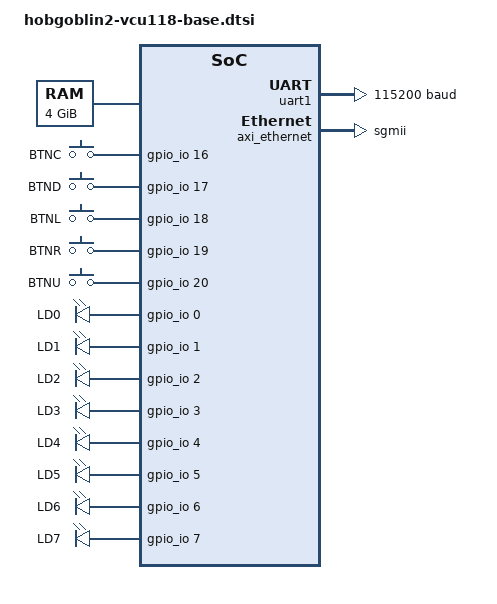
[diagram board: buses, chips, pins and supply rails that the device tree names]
// SPDX-License-Identifier: GPL-2.0
/*
 * Copyright (c) 2024 Codasip GmbH
 *
 * A730 Hobgoblin FPGA vcu118 base description. This dts includes all the
 * hardware that is dependent on the board itself. So things like DDR,
 * buttons, LEDS, etc go here. Components that are optional or configurable
 * will be described in the board dts itself.
 *
 */

/ {
	ddr: memory@80000000 {
		device_type = "memory";
		reg = <0x0 0x80000000 0x1 0x00000000>;
	};
};

&soc {
	uart1: serial@10110000 {
		compatible = "xlnx,xps-uartlite-1.00.a";
		reg = <0x10110000 0x10>;
		interrupts-extended = <&plic 2>;
		current-speed = <115200>;
		xlnx,data-bits = <8>;
		xlnx,use-parity = <0>;
	};
};

/*
 * The on board Ethernet on the VCU118 uses an SGMII interface, so it cannot
 * be changed to an Ethernet lite style of system, so it is included here in
 * the base dtsi
 */

#include "hobgoblin2-axi-emac.dtsi"

/*
 * Uses a TI dp83867 phy in SGMII mode. The RXCTRL pin is not strapped which
 * results in an invalid configuration, so we need the quirk. The AXI emac
 * only supports synchronous operation, it does not do clock recovery, so we
 * need the clock which is not on by default.
 *
 * Phy address 1 is actually the phy that does an GMII to SGMII conversion
 * inside the Ethernet block itself.
 */

&axi_ethernet {
	phy-mode = "sgmii";
};

&phy0 {
	reg = <3>;
	ti,dp83867-rxctrl-strap-quirk;
	ti,sgmii-ref-clock-output-enable;
};


/*
 * We have to have the FMC card anyway on the VCU118 to get an SD card, so we
 * may as well include the Ethernet in the base as well.
 */
#include "hobgoblin2-axi-emac-fmc.dtsi"

#include "dt-bindings/input/input.h"

/ {
	gpio-keys {
		compatible = "gpio-keys";

		key-enter {
			label = "BTNC";
			linux,code = <KEY_ENTER>;
			gpios = <&gpio_io 16 GPIO_ACTIVE_HIGH>;
		};

		key-down {
			label = "BTND";
			linux,code = <KEY_DOWN>;
			gpios = <&gpio_io 17 GPIO_ACTIVE_HIGH>;
		};

		key-left {
			label = "BTNL";
			linux,code = <KEY_LEFT>;
			gpios = <&gpio_io 18 GPIO_ACTIVE_HIGH>;
		};

		key-right {
			label = "BTNR";
			linux,code = <KEY_RIGHT>;
			gpios = <&gpio_io 19 GPIO_ACTIVE_HIGH>;
		};

		key-up {
			label = "BTNU";
			linux,code = <KEY_UP>;
			gpios = <&gpio_io 20 GPIO_ACTIVE_HIGH>;
		};
	};

	leds {
		compatible = "gpio-leds";

		led-0 {
			label = "LD0";
			gpios = <&gpio_io 0 GPIO_ACTIVE_HIGH>;
			linux,default-trigger = "heartbeat";
		};

		led-1 {
			label = "LD1";
			gpios = <&gpio_io 1 GPIO_ACTIVE_HIGH>;
			linux,default-trigger = "mmc0";
		};

		led-2 {
			label = "LD2";
			gpios = <&gpio_io 2 GPIO_ACTIVE_HIGH>;
		};

		led-3 {
			label = "LD3";
			gpios = <&gpio_io 3 GPIO_ACTIVE_HIGH>;
		};

		led-4 {
			label = "LD4";
			gpios = <&gpio_io 4 GPIO_ACTIVE_HIGH>;
		};

		led-5 {
			label = "LD5";
			gpios = <&gpio_io 5 GPIO_ACTIVE_HIGH>;
		};

		led-6 {
			label = "LD6";
			gpios = <&gpio_io 6 GPIO_ACTIVE_HIGH>;
		};

		led-7 {
			label = "LD7";
			gpios = <&gpio_io 7 GPIO_ACTIVE_HIGH>;
		};
	};
};
